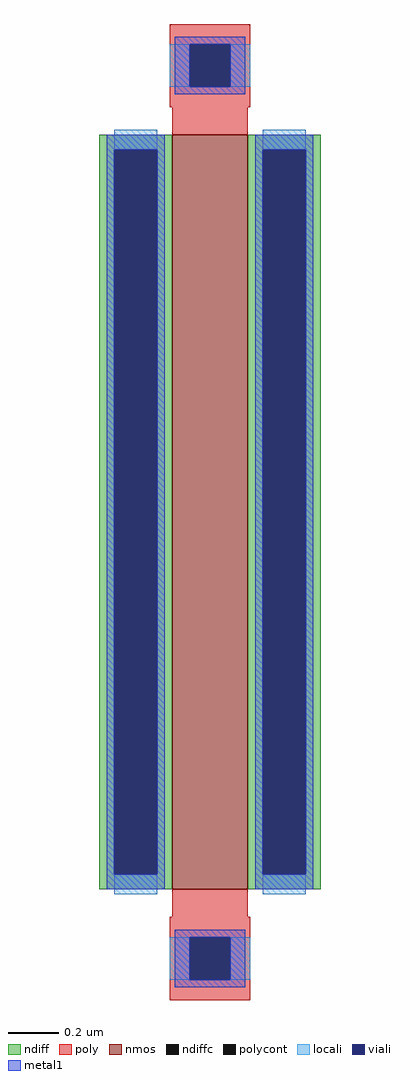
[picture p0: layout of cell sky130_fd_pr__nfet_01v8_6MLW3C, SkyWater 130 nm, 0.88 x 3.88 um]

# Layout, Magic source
magic
tech sky130A
<< nmos >>
rect -15 -150 15 150
<< ndiff >>
rect -44 144 -15 150
rect -44 -144 -38 144
rect -21 -144 -15 144
rect -44 -150 -15 -144
rect 15 144 44 150
rect 15 -144 21 144
rect 38 -144 44 144
rect 15 -150 44 -144
<< ndiffc >>
rect -38 -144 -21 144
rect 21 -144 38 144
<< poly >>
rect -16 186 16 194
rect -16 169 -8 186
rect 8 169 16 186
rect -16 161 16 169
rect -15 150 15 161
rect -15 -161 15 -150
rect -16 -169 16 -161
rect -16 -186 -8 -169
rect 8 -186 16 -169
rect -16 -194 16 -186
<< polycont >>
rect -8 169 8 186
rect -8 -186 8 -169
<< locali >>
rect -16 169 -8 186
rect 8 169 16 186
rect -38 144 -21 152
rect -38 -152 -21 -144
rect 21 144 38 152
rect 21 -152 38 -144
rect -16 -186 -8 -169
rect 8 -186 16 -169
<< viali >>
rect -8 169 8 186
rect -38 -144 -21 144
rect 21 -144 38 144
rect -8 -186 8 -169
<< metal1 >>
rect -14 186 14 189
rect -14 169 -8 186
rect 8 169 14 186
rect -14 166 14 169
rect -41 144 -18 150
rect -41 -144 -38 144
rect -21 -144 -18 144
rect -41 -150 -18 -144
rect 18 144 41 150
rect 18 -144 21 144
rect 38 -144 41 144
rect 18 -150 41 -144
rect -14 -169 14 -166
rect -14 -186 -8 -169
rect 8 -186 14 -169
rect -14 -189 14 -186
<< properties >>
string gencell sky130_fd_pr__nfet_01v8
string library sky130
string parameters w 3.0 l 0.3 m 1 nf 1 diffcov 100 polycov 100 guard 0 glc 1 grc 1 gtc 1 gbc 1 tbcov 100 rlcov 100 topc 1 botc 1 poverlap 0 doverlap 1 lmin 0.15 wmin 0.42 compatible {sky130_fd_pr__nfet_01v8 sky130_fd_pr__nfet_01v8_lvt  sky130_fd_bs_flash__special_sonosfet_star  sky130_fd_pr__nfet_g5v0d10v5 sky130_fd_pr__nfet_05v0_nvt  sky130_fd_pr__nfet_03v3_nvt} full_metal 1 viasrc 100 viadrn 100 viagate 100 viagb 0 viagr 0 viagl 0 viagt 0
<< end >>
